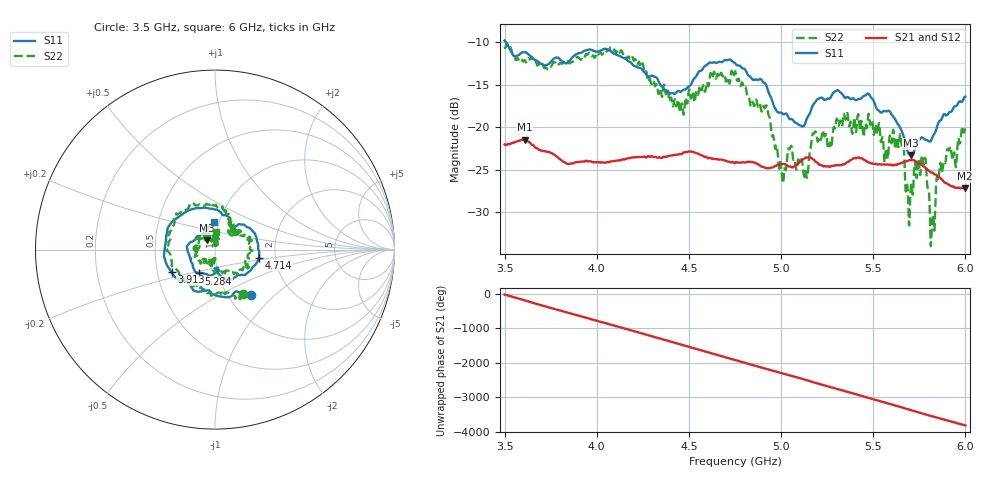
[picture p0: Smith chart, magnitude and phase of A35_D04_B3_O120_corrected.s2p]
! Created with skrf 1.9.0 (http://scikit-rf.org).
# Hz S RI R 50.0
!freq ReS11 ImS11 ReS21 ImS21 ReS12 ImS12 ReS22 ImS22
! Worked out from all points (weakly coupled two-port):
!   1601 points, 3.5 GHz to 6 GHz, reference 50 ohm
!   highest |S21| = -21.47 dB at 3.609 GHz (marker M1); lowest = -27.2 dB at 5.995 GHz (marker M2)
!   lowest |S11| = -23.3 dB at 5.705 GHz (marker M3), VSWR 1.15, Z = 45.5 + j4.73 ohm
!   |S11| at or under -10 dB: 3.507 GHz to end of sweep
!   |S22| runs from -34.0 to -10.2 dB; largest |S21 - S12| = 0.001
!   S11 on the Smith chart (normalised r, x): 3.5 GHz: 1.27, -0.72; 3.913 GHz: 0.59, -0.16; 4.714 GHz: 1.64, -0.16; 5.284 GHz: 0.81, -0.22; 6 GHz: 0.94, +0.29
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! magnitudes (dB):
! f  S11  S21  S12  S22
! 3.5 GHz  -9.8  -22.0  -22.0  -10.6
! 3.609 GHz  -11.2  -21.5  -21.5  -12.1
! 3.913 GHz  -11.3  -24.1  -24.0  -12.1
! 3.917 GHz  -11.2  -24.1  -24.0  -12.0
! 4.334 GHz  -14.6  -23.6  -23.5  -16.1
! 4.463 GHz  -15.7  -23.2  -23.1  -17.2
! 4.714 GHz  -12.1  -24.1  -24.0  -14.3
! 4.75 GHz  -12.5  -24.2  -24.1  -13.5
! 4.927 GHz  -15.5  -24.8  -24.8  -18.0
! 5.014 GHz  -18.5  -24.3  -24.2  -26.1
! 5.048 GHz  -19.1  -24.6  -24.6  -22.4
! 5.134 GHz  -19.3  -23.6  -23.5  -25.3
! 5.167 GHz  -17.7  -23.7  -23.6  -21.2
! 5.284 GHz  -15.9  -24.5  -24.5  -20.1
! 5.584 GHz  -18.1  -24.4  -24.3  -22.3
! 5.655 GHz  -20.5  -24.2  -24.1  -22.2
! 5.705 GHz  -23.3  -23.9  -23.8  -26.9
! 5.773 GHz  -21.3  -24.6  -24.5  -24.4
! 5.822 GHz  -21.2  -25.3  -25.3  -30.7
! 5.855 GHz  -19.4  -25.8  -25.7  -26.0
! 5.995 GHz  -16.5  -27.2  -27.1  -20.5
! 6 GHz  -16.4  -27.2  -27.1  -20.1
